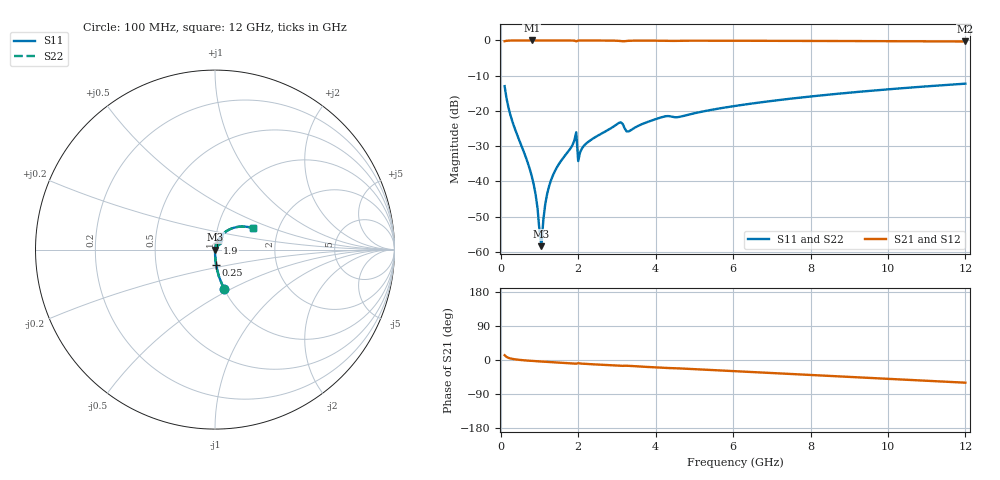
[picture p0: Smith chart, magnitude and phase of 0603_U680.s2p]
! S-parameter model data by Modelithics Inc. support@modelithics.com 813-866-6335 Tampa FL USA
! S-Parameter data specifications:
! Substrate: 20-mil Rogers, substrate thickness, H=0.508mm, Dielectric constant, Er=3.75
! PCB Mounting Pad Footprint: Pad width, PadW=0.75mm , Pad length, PadL=0.80mm , Pad gap, PadG (edge-to-edge)=0.70mm , Reference planes=2.20mm apart
! Created Thu Mar 08 16:42:27 2018
# hz S ma R 50
! 2 Port Network Data from SP1.SP block
! freq  magS11  angS11  magS21  angS21  magS12  angS12  magS22  angS22
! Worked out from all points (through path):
!   239 points, 100 MHz to 12 GHz, reference 50 ohm
!   highest |S21| = -0.01 dB at 800 MHz (marker M1); lowest = -0.3 dB at 12 GHz (marker M2)
!   group delay of S21, straight-line fit = 14.3 ps
!   lowest |S11| = -58.4 dB at 1.05 GHz (marker M3), VSWR 1.00, Z = 50.1 + j0.0417 ohm
!   |S11| at or under -10 dB: start of sweep to end of sweep
!   |S22| runs from -58.4 to -12.3 dB; largest |S21 - S12| = 0
!   S11 on the Smith chart (normalised r, x): 100 MHz: 1.00, -0.46; 250 MHz: 1.00, -0.18; 1.9 GHz: 1.02, +0.07; 12 GHz: 1.48, +0.38
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1e8  0.2248 -77.3  0.974 12.6  0.974 12.6  0.2248 -77.3
2.5e8  0.08745 -85.6  0.9956 4.1  0.9956 4.1  0.08745 -85.6
8e8  0.01195 -87.7  0.9989 -2.4  0.9989 -2.4  0.01195 -87.7
9e8  0.006581 -84.1  0.9989 -3.0  0.9989 -3.0  0.006581 -84.1
9.5e8  0.004178 -78.8  0.9989 -3.4  0.9989 -3.4  0.004178 -78.8
1e9  0.002028 -61.7  0.9989 -3.7  0.9989 -3.7  0.002028 -61.7
1.05e9  0.001209 20.1  0.9989 -4.0  0.9989 -4.0  0.001209 20.1
1.1e9  0.002847 62.3  0.9988 -4.3  0.9988 -4.3  0.002847 62.3
1.15e9  0.004792 71.4  0.9988 -4.6  0.9988 -4.6  0.004792 71.4
1.25e9  0.008614 76.7  0.9987 -5.2  0.9987 -5.2  0.008614 76.7
1.45e9  0.01583 78.8  0.9985 -6.4  0.9985 -6.4  0.01583 78.8
1.9e9  0.03805 73.4  0.9944 -9.4  0.9944 -9.4  0.03805 73.4
1.95e9  0.04988 46.4  0.9713 -9.8  0.9713 -9.8  0.04988 46.4
2e9  0.01942 59.4  0.9925 -8.6  0.9925 -8.6  0.01942 59.4
2.1e9  0.02958 76.3  0.9974 -9.6  0.9974 -9.6  0.02958 76.3
3.05e9  0.06761 64.7  0.986 -15.4  0.986 -15.4  0.06761 64.7
3.3e9  0.05109 61.6  0.9871 -15.4  0.9871 -15.4  0.05109 61.6
4.1e9  0.07971 66.1  0.9914 -20.1  0.9914 -20.1  0.07971 66.1
6.05e9  0.1177 58.9  0.9899 -29.7  0.9899 -29.7  0.1177 58.9
8.05e9  0.1613 49.1  0.9835 -39.8  0.9835 -39.8  0.1613 49.1
1.005e10  0.2036 39.1  0.9753 -50.0  0.9753 -50.0  0.2036 39.1
1.2e10  0.2437 29.3  0.9658 -59.9  0.9658 -59.9  0.2437 29.3
